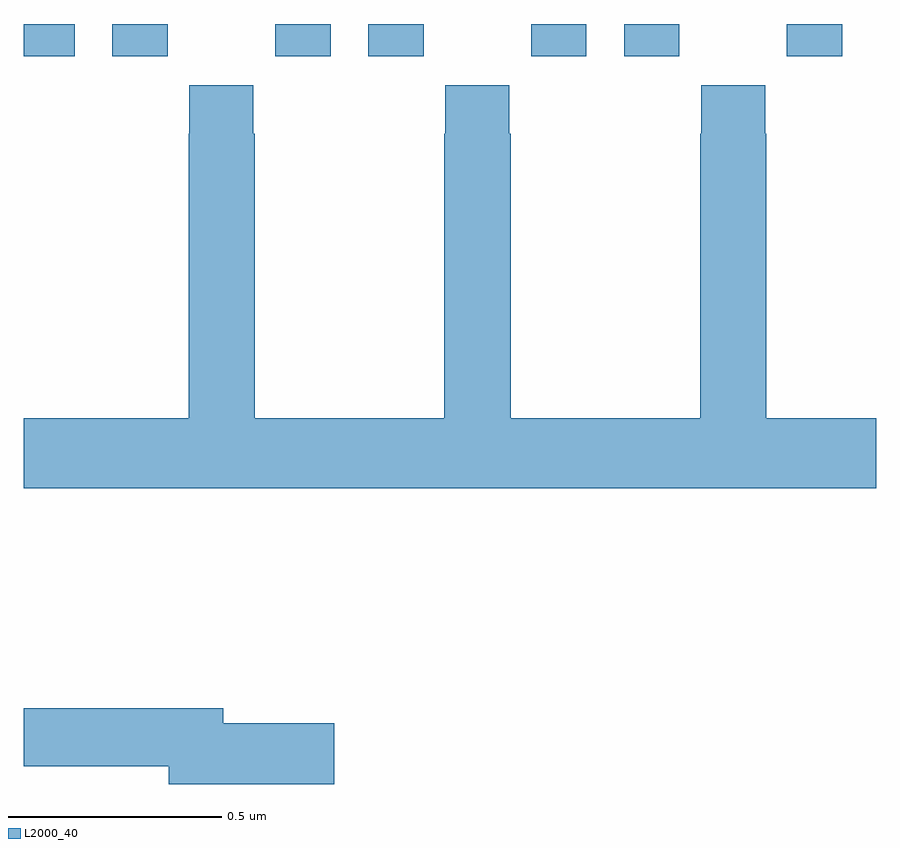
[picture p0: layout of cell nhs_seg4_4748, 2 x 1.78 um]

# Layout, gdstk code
import gdstk
lib = gdstk.Library(unit=1e-6, precision=1e-09)
def R(c, l, rs):  # rectangles x0, y0, x1, y1
    for r in rs: c.add(gdstk.rectangle(r[:2], r[2:], *l))
def P(c, l, *ps):  # polygons
    for p in ps: c.add(gdstk.Polygon(p, *l))
L2000_40 = (2000, 40)

nhs_seg4_4748 = lib.new_cell('nhs_seg4_4748')
R(nhs_seg4_4748, L2000_40, [(169,805.824,169.12,805.9), (169.208,805.824,169.338,805.9), (169.59,805.824,169.72,805.9), (169.808,805.824,169.938,805.9), (170.19,805.824,170.32,805.9), (170.408,805.824,170.538,805.9), (170.79,805.824,170.92,805.9)])
P(nhs_seg4_4748, L2000_40, [(169.389,805.756),(169.389,805.643),(169.387,805.643),(169.387,804.976),(169,804.976),(169,804.812),(171,804.812),(171,804.976),(170.742,804.976),(170.742,805.643),(170.739,805.643),(170.739,805.756),(170.589,805.756),(170.589,805.643),(170.587,805.643),(170.587,804.976),(170.142,804.976),(170.142,805.643),(170.139,805.643),(170.139,805.756),(169.989,805.756),(169.989,805.643),(169.987,805.643),(169.987,804.976),(169.542,804.976),(169.542,805.643),(169.539,805.643),(169.539,805.756)],
  [(169.729,804.26),(169.468,804.26),(169.468,804.296),(169,804.296),(169,804.16),(169.34,804.16),(169.34,804.118),(169.729,804.118)])

lib.write_gds('nhs_seg4_4748.gds')
